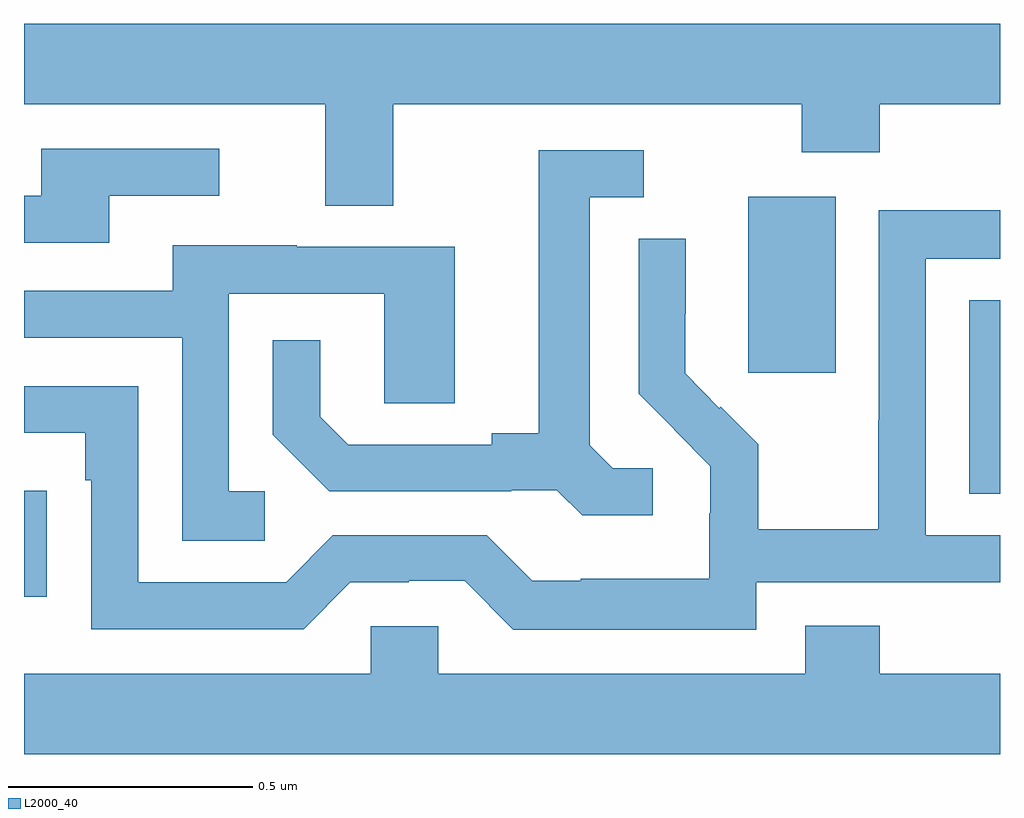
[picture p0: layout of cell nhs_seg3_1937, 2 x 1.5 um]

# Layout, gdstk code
import gdstk
lib = gdstk.Library(unit=1e-6, precision=1e-09)
def R(c, l, rs):  # rectangles x0, y0, x1, y1
    for r in rs: c.add(gdstk.rectangle(r[:2], r[2:], *l))
def P(c, l, *ps):  # polygons
    for p in ps: c.add(gdstk.Polygon(p, *l))
L2000_40 = (2000, 40)

nhs_seg3_1937 = lib.new_cell('nhs_seg3_1937')
R(nhs_seg3_1937, L2000_40, [(135,671.934,135.047,672.152), (136.937,672.145,137,672.542), (136.484,672.393,136.663,672.754)])
P(nhs_seg3_1937, L2000_40, [(135.757,672.944),(136.594,672.944),(136.594,672.845),(136.754,672.845),(136.754,672.944),(137,672.944),(137,673.108),(135,673.108),(135,672.944),(135.617,672.944),(135.617,672.736),(135.757,672.736)],
  [(135.175,672.756),(135.4,672.756),(135.4,672.852),(135.035,672.852),(135.035,672.756),(135,672.756),(135,672.66),(135.175,672.66)],
  [(136.288,672.198),(136.206,672.198),(136.159,672.245),(136.159,672.753),(136.27,672.753),(136.27,672.849),(136.055,672.849),(136.055,672.269),(135.959,672.269),(135.959,672.246),(135.664,672.246),(135.607,672.303),(135.607,672.46),(135.51,672.46),(135.51,672.266),(135.626,672.15),(135.998,672.15),(135.998,672.153),(136.092,672.153),(136.144,672.101),(136.288,672.101)],
  [(136.5,671.964),(137,671.964),(137,672.06),(136.848,672.06),(136.848,672.627),(137,672.627),(137,672.726),(136.752,672.726),(136.752,672.296),(136.75,672.296),(136.75,672.073),(136.505,672.073),(136.505,672.247),(136.428,672.324),(136.425,672.321),(136.355,672.392),(136.355,672.514),(136.356,672.514),(136.356,672.668),(136.26,672.668),(136.26,672.35),(136.333,672.277),(136.332,672.276),(136.406,672.202),(136.406,672.105),(136.404,672.105),(136.404,671.971),(136.141,671.971),(136.141,671.967),(136.041,671.967),(135.948,672.06),(135.633,672.06),(135.537,671.964),(135.234,671.964),(135.234,672.366),(135,672.366),(135,672.27),(135.125,672.27),(135.125,672.173),(135.138,672.173),(135.138,671.868),(135.573,671.868),(135.669,671.964),(135.788,671.964),(135.788,671.967),(135.903,671.967),(136.003,671.867),(136.5,671.867)],
  [(135.493,672.15),(135.42,672.15),(135.42,672.555),(135.738,672.555),(135.738,672.331),(135.883,672.331),(135.883,672.651),(135.559,672.651),(135.559,672.655),(135.305,672.655),(135.305,672.561),(135,672.561),(135,672.465),(135.324,672.465),(135.324,672.049),(135.493,672.049)],
  [(137,671.776),(136.754,671.776),(136.754,671.875),(136.601,671.875),(136.601,671.776),(135.849,671.776),(135.849,671.874),(135.711,671.874),(135.711,671.776),(135,671.776),(135,671.612),(137,671.612)])

lib.write_gds('nhs_seg3_1937.gds')
